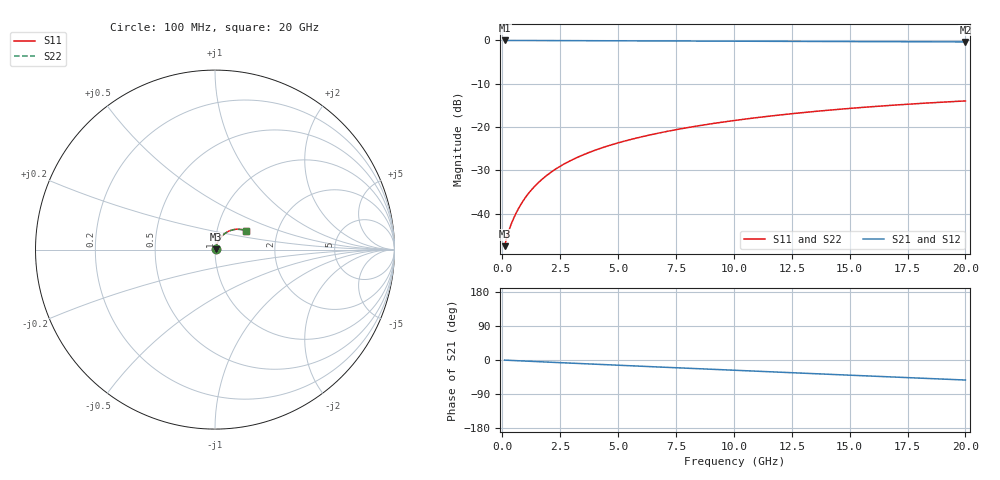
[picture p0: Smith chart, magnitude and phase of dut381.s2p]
! Touchstone file exported from HFSS 2026.1.0
!  File:  C:/ffzhzh/LocalFiles/Ansys_Project_Files/temp_train_TMRDL_381_1783004551_46388.aedt
!  Generated:  11:03:58 PM Jul  2, 2026
!  Design:  TMRDL
!  Project:  temp_train_TMRDL_381_1783004551_46388
! Variables:
!  h_bsmrdl = 2um
!  h_ox = 20um
!  h_rdl = 5um
!  h_sub = 80um
!  h_tmrdl = 5.94um
!  h_tsv = 80um
!  h_via = 3um
!  l_bsmrdl = 300um
!  l_sub = 1344.51um
!  l_tmrdl = 944.51um
!  m_sub = 200um
!  pitch = 24.69um
!  r_tsv = 6um
!  s_tmrdl = 10um
!  w_bsmrdl = 18um
!  w_sub = 500um
!  w_tmrdl = 15.45um
!  x_tsv_center1 = 952.235um
!  x_tsv_center2 = 1270.235um
!  x_tsv_center3 = 2230.195um
!  x_tsv_center4 = 2548.195um
!  x_tsv_center5 = 3508.155um
!  x_tsv_center6 = 3826.155um
# GHz S MA R 50.000000
! Terminal data exported
! Port[1] = TM_RDL1_1_T1
! Port[2] = TM_RDL1_1_T2
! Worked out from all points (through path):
!   200 points, 100 MHz to 20 GHz, reference 50 ohm
!   highest |S21| = -0.03 dB at 100 MHz (marker M1); lowest = -0.4 dB at 20 GHz (marker M2)
!   group delay of S21, straight-line fit = 7.31 ps
!   lowest |S11| = -47.4 dB at 100 MHz (marker M3), VSWR 1.01, Z = 50.4 + j0.185 ohm
!   |S11| at or under -10 dB: start of sweep to end of sweep
!   |S22| runs from -47.4 to -14.0 dB; largest |S21 - S12| = 1.4e-14
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0.1  0.004247 25.6  0.9962 -0.3  0.9962 -0.3  0.004247 25.6
! Gamma 0 0 0 0
! Port Impedance 50 0 50 0
0.2  0.005405 39.4  0.9959 -0.6  0.9959 -0.6  0.005405 39.4
0.3  0.006609 47.2  0.9956 -0.9  0.9956 -0.9  0.00661 47.2
0.4  0.007807 52.6  0.9954 -1.2  0.9954 -1.2  0.007807 52.6
0.6  0.01026 59.9  0.9951 -1.7  0.9951 -1.7  0.01026 59.9
0.7  0.01153 62.4  0.995 -2.0  0.995 -2.0  0.01153 62.4
0.9  0.01413 65.9  0.9948 -2.6  0.9948 -2.6  0.01413 65.9
1.1  0.01679 68.2  0.9945 -3.1  0.9945 -3.1  0.01679 68.1
1.3  0.01946 69.6  0.9943 -3.7  0.9943 -3.7  0.01947 69.6
1.7  0.02483 71.0  0.9936 -4.8  0.9936 -4.8  0.02483 71.0
2.2  0.03146 71.3  0.9927 -6.2  0.9927 -6.2  0.03147 71.3
2.8  0.03923 70.8  0.9915 -7.8  0.9915 -7.8  0.03924 70.7
3.5  0.048 69.7  0.99 -9.8  0.99 -9.8  0.048 69.6
4.2  0.05646 68.3  0.9885 -11.6  0.9885 -11.6  0.05647 68.2
5  0.06581 66.6  0.9868 -13.8  0.9868 -13.8  0.06582 66.5
5.9  0.076 64.7  0.9849 -16.2  0.9849 -16.2  0.07601 64.5
6.8  0.08588 62.7  0.9831 -18.6  0.9831 -18.6  0.0859 62.5
8.3  0.1018 59.3  0.9801 -22.6  0.9801 -22.6  0.1018 59.1
10.1  0.12 55.2  0.9767 -27.3  0.9767 -27.3  0.12 55.0
13.4  0.1507 47.6  0.9703 -35.9  0.9703 -35.9  0.1507 47.2
16.7  0.1775 39.7  0.9642 -44.4  0.9642 -44.4  0.1776 39.3
20  0.2002 31.9  0.9585 -52.9  0.9585 -52.9  0.2003 31.3
